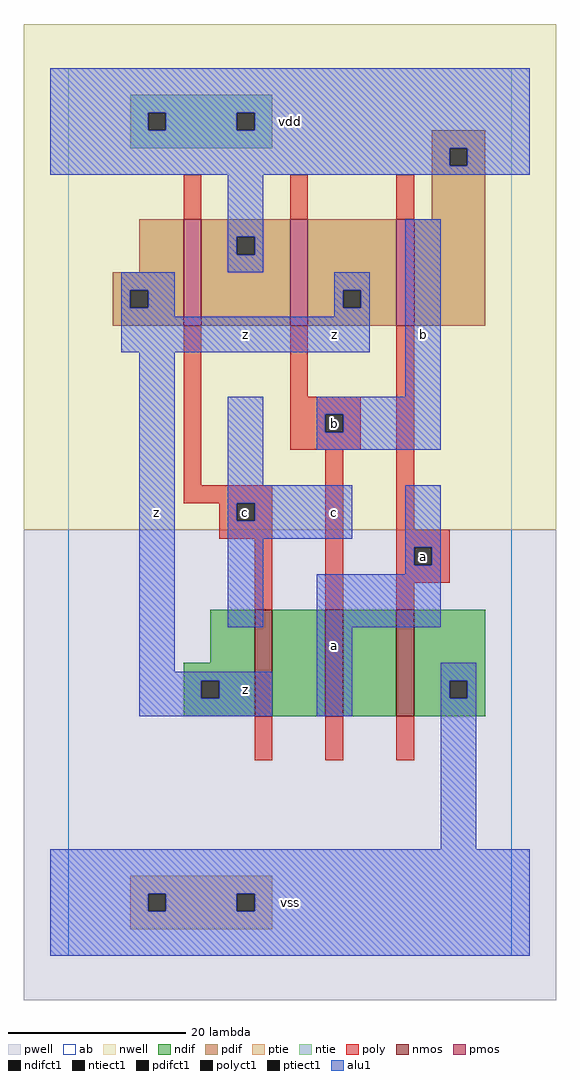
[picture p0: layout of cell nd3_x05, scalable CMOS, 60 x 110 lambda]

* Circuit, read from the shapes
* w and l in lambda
.subckt nd3_x05 a b c vdd vss z
M1 n1 c z vss nfet w=12 l=2
M2 n2 b n1 vss nfet w=12 l=2
M3 vss a n2 vss nfet w=12 l=2
M4 vdd c z vdd pfet w=12 l=2
M5 z b vdd vdd pfet w=12 l=2
M6 vdd a z vdd pfet w=12 l=2
.ends

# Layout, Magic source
magic
tech scmos
<< ab >>
rect 0 0 50 100
<< nwell >>
rect -5 48 55 105
<< pwell >>
rect -5 -5 55 48
<< poly >>
rect 13 83 15 88
rect 25 83 27 88
rect 37 83 39 88
rect 13 53 15 71
rect 25 63 27 71
rect 25 61 33 63
rect 25 59 29 61
rect 31 59 33 61
rect 25 57 33 59
rect 13 51 23 53
rect 17 49 19 51
rect 21 49 23 51
rect 17 47 23 49
rect 21 39 23 47
rect 29 39 31 57
rect 37 48 39 71
rect 37 46 43 48
rect 37 44 39 46
rect 41 44 43 46
rect 37 42 43 44
rect 37 39 39 42
rect 21 22 23 27
rect 29 22 31 27
rect 37 22 39 27
<< ndif >>
rect 16 33 21 39
rect 13 31 21 33
rect 13 29 15 31
rect 17 29 21 31
rect 13 27 21 29
rect 23 27 29 39
rect 31 27 37 39
rect 39 31 47 39
rect 39 29 43 31
rect 45 29 47 31
rect 39 27 47 29
<< pdif >>
rect 41 91 47 93
rect 41 89 43 91
rect 45 89 47 91
rect 41 83 47 89
rect 8 77 13 83
rect 5 75 13 77
rect 5 73 7 75
rect 9 73 13 75
rect 5 71 13 73
rect 15 81 25 83
rect 15 79 19 81
rect 21 79 25 81
rect 15 71 25 79
rect 27 75 37 83
rect 27 73 31 75
rect 33 73 37 75
rect 27 71 37 73
rect 39 71 47 83
<< alu1 >>
rect -2 95 52 100
rect -2 93 9 95
rect 11 93 19 95
rect 21 93 52 95
rect -2 91 52 93
rect -2 89 43 91
rect 45 89 52 91
rect -2 88 52 89
rect 18 81 22 88
rect 18 79 19 81
rect 21 79 22 81
rect 18 77 22 79
rect 6 75 12 77
rect 6 73 7 75
rect 9 73 12 75
rect 6 72 12 73
rect 30 75 34 77
rect 30 73 31 75
rect 33 73 34 75
rect 30 72 34 73
rect 6 68 34 72
rect 8 32 12 68
rect 38 63 42 83
rect 18 53 22 63
rect 28 61 42 63
rect 28 59 29 61
rect 31 59 42 61
rect 28 57 42 59
rect 18 51 32 53
rect 18 49 19 51
rect 21 49 32 51
rect 18 47 32 49
rect 18 37 22 47
rect 38 46 42 53
rect 38 44 39 46
rect 41 44 42 46
rect 38 43 42 44
rect 28 37 42 43
rect 8 31 23 32
rect 8 29 15 31
rect 17 29 23 31
rect 8 27 23 29
rect 28 27 32 37
rect 42 31 46 33
rect 42 29 43 31
rect 45 29 46 31
rect 42 12 46 29
rect -2 7 52 12
rect -2 5 9 7
rect 11 5 19 7
rect 21 5 52 7
rect -2 0 52 5
<< ptie >>
rect 7 7 23 9
rect 7 5 9 7
rect 11 5 19 7
rect 21 5 23 7
rect 7 3 23 5
<< ntie >>
rect 7 95 23 97
rect 7 93 9 95
rect 11 93 19 95
rect 21 93 23 95
rect 7 91 23 93
<< nmos >>
rect 21 27 23 39
rect 29 27 31 39
rect 37 27 39 39
<< pmos >>
rect 13 71 15 83
rect 25 71 27 83
rect 37 71 39 83
<< polyct1 >>
rect 29 59 31 61
rect 19 49 21 51
rect 39 44 41 46
<< ndifct1 >>
rect 15 29 17 31
rect 43 29 45 31
<< ntiect1 >>
rect 9 93 11 95
rect 19 93 21 95
<< ptiect1 >>
rect 9 5 11 7
rect 19 5 21 7
<< pdifct1 >>
rect 43 89 45 91
rect 7 73 9 75
rect 19 79 21 81
rect 31 73 33 75
<< labels >>
rlabel alu1 20 30 20 30 6 z
rlabel polyct1 20 50 20 50 6 c
rlabel alu1 10 50 10 50 6 z
rlabel alu1 20 70 20 70 6 z
rlabel alu1 25 6 25 6 6 vss
rlabel alu1 30 35 30 35 6 a
rlabel alu1 30 50 30 50 6 c
rlabel polyct1 30 60 30 60 6 b
rlabel alu1 30 70 30 70 6 z
rlabel alu1 25 94 25 94 6 vdd
rlabel polyct1 40 45 40 45 6 a
rlabel alu1 40 70 40 70 6 b
<< end >>
